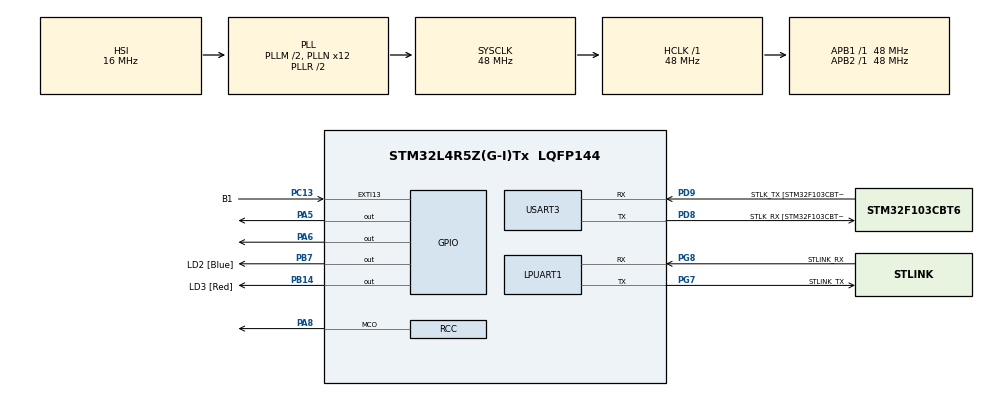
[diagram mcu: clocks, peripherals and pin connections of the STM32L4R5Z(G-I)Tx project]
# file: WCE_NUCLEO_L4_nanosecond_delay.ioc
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Mcu.Family=STM32L4
Mcu.Name=STM32L4R5Z(G-I)Tx
Mcu.Package=LQFP144
NVIC.PriorityGroup=NVIC_PRIORITYGROUP_4
PA13\ (JTMS/SWDIO).GPIO_Label=TMS
PA13\ (JTMS/SWDIO).Mode=Trace_Asynchronous_SW
PA13\ (JTMS/SWDIO).Signal=SYS_JTMS-SWDIO
PA14\ (JTCK/SWCLK).GPIO_Label=TCK
PA14\ (JTCK/SWCLK).Mode=Trace_Asynchronous_SW
PA14\ (JTCK/SWCLK).Signal=SYS_JTCK-SWCLK
PA5.GPIO_Speed=GPIO_SPEED_FREQ_VERY_HIGH
PA5.Signal=GPIO_Output
PA6.Signal=GPIO_Output
PA8.GPIO_Speed=GPIO_SPEED_FREQ_VERY_HIGH
PA8.Mode=Clock-out
PA8.Signal=RCC_MCO
PB14.GPIO_Label=LD3 [Red]
PB14.Signal=GPIO_Output
PB3\ (JTDO/TRACESWO).GPIO_Label=SWO
PB3\ (JTDO/TRACESWO).Mode=Trace_Asynchronous_SW
PB3\ (JTDO/TRACESWO).Signal=SYS_JTDO-SWO
PB7.GPIO_Label=LD2 [Blue]
PB7.Signal=GPIO_Output
PC13.GPIO_Label=B1
PC13.Signal=GPXTI13
PC14-OSC32_IN\ (PC14).Mode=LSE-External-Oscillator
PC14-OSC32_IN\ (PC14).Signal=RCC_OSC32_IN
PC15-OSC32_OUT\ (PC15).Mode=LSE-External-Oscillator
PC15-OSC32_OUT\ (PC15).Signal=RCC_OSC32_OUT
PD8.GPIO_Label=STLK_RX [STM32F103CBT6_PA3]
PD8.Mode=Asynchronous
PD8.Signal=USART3_TX
PD9.GPIO_Label=STLK_TX [STM32F103CBT6_PA2]
PD9.Mode=Asynchronous
PD9.Signal=USART3_RX
PG7.GPIO_Label=STLINK_TX
PG7.Mode=Asynchronous
PG7.Signal=LPUART1_TX
PG8.GPIO_Label=STLINK_RX
PG8.Mode=Asynchronous
PG8.Signal=LPUART1_RX
PH0-OSC_IN\ (PH0).Signal=RCC_OSC_IN
PH1-OSC_OUT\ (PH1).Signal=RCC_OSC_OUT
ProjectManager.HeapSize=0x200
ProjectManager.StackSize=0x400
ProjectManager.TargetToolchain=STM32CubeIDE
RCC.48MHZClocksFreq_Value=24000000
RCC.ADCFreq_Value=96000000
RCC.AHBFreq_Value=48000000
RCC.APB1Freq_Value=48000000
RCC.APB1TimFreq_Value=48000000
RCC.APB2Freq_Value=48000000
RCC.APB2TimFreq_Value=48000000
RCC.CK48CLockSelection=RCC_USBCLKSOURCE_HSI48
RCC.CortexFreq_Value=48000000
RCC.HCLKFreq_Value=48000000
RCC.HSE_VALUE=8000000
RCC.HSI48_VALUE=48000000
RCC.HSI_VALUE=16000000
RCC.MSI_VALUE=4000000
RCC.PLLM1=2
RCC.PLLMUL=RCC_PLL_MUL9
RCC.PLLN=12
RCC.PLLSAI1N=12
RCC.PLLSourceVirtual=RCC_PLLSOURCE_HSI
RCC.PRESCALERUSB=RCC_USBCLKSOURCE_PLL_DIV1_5
RCC.PWR_Regulator_Voltage_Scale=PWR_REGULATOR_VOLTAGE_SCALE1_BOOST
RCC.RCC_MCODiv=RCC_MCODIV_4
RCC.SYSCLKFreq_VALUE=48000000
RCC.SYSCLKSource=RCC_SYSCLKSOURCE_PLLCLK
RCC.SYSCLKSourceVirtual=RCC_SYSCLKSOURCE_PLLCLK
RCC.USBFreq_Value=48000000
RCC.VCOOutputFreq_Value=96000000
TIM2.Prescaler=12-1
USART3.VirtualMode-Asynchronous=VM_ASYNC
VP_TIM1_VS_ClockSourceINT.Mode=Internal
VP_TIM2_VS_ClockSourceINT.Mode=Internal
board=NUCLEO-L4R5ZI

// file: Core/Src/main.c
/* USER CODE BEGIN Header */
/**
  ******************************************************************************
  * @file           : main.c
  * @brief          : Main program body
  ******************************************************************************
  * @attention
  *
  * <h2><center>&copy; Copyright (c) 2021 STMicroelectronics.
  * All rights reserved.</center></h2>
  *
  * This software component is licensed by ST under BSD 3-Clause license,
  * the "License"; You may not use this file except in compliance with the
  * License. You may obtain a copy of the License at:
  *                        opensource.org/licenses/BSD-3-Clause
  *
  ******************************************************************************
  */
/* USER CODE END Header */
#include "main.h"

UART_HandleTypeDef hlpuart1;
UART_HandleTypeDef huart3;

TIM_HandleTypeDef htim1;
TIM_HandleTypeDef htim2;

void SystemClock_Config(void);
static void MX_GPIO_Init(void);
static void MX_LPUART1_UART_Init(void);
static void MX_USART3_UART_Init(void);
static void MX_TIM1_Init(void);
static void MX_TIM2_Init(void);
/* USER CODE BEGIN PFP */
static void stopwatch_reset(void);
static uint32_t stopwatch_getticks();
static void stopwatch_delay(uint32_t ticks);
void delay (uint16_t delay);
void delay_10_nsec (uint16_t t);

/* USER CODE END PFP */

int main(void)
{
  /* USER CODE BEGIN 1 */
	uint32_t m_nStart;               //DEBUG Stopwatch start cycle counter value
	uint32_t m_nStop;                //DEBUG Stopwatch stop cycle counter value

	#define DEMCR_TRCENA    0x01000000

	/* Core Debug registers */
	#define DEMCR           (*((volatile uint32_t *)0xE000EDFC))
	#define DWT_CTRL        (*(volatile uint32_t *)0xe0001000)
	#define CYCCNTENA       (1<<0)
	#define DWT_CYCCNT      ((volatile uint32_t *)0xE0001004)
	#define CPU_CYCLES      *DWT_CYCCNT
	#define CLK_SPEED       120000000 // EXAMPLE for CortexM4, EDIT as needed

	#define STOPWATCH_START { m_nStart = *((volatile unsigned int *)0xE0001004);}
	#define STOPWATCH_STOP  { m_nStop = *((volatile unsigned int *)0xE0001004);}

  /* USER CODE END 1 */

  /* MCU Configuration--------------------------------------------------------*/

  /* Reset of all peripherals, Initializes the Flash interface and the Systick. */
  HAL_Init();

  /* Configure the system clock */
  SystemClock_Config();

  /* Initialize all configured peripherals */
  MX_GPIO_Init();
  MX_LPUART1_UART_Init();
  MX_USART3_UART_Init();
  MX_TIM1_Init();
  MX_TIM2_Init();
  /* USER CODE BEGIN 2 */
  HAL_TIM_Base_Start(&htim1);
  int timeDiff = 0;
  int counter = 0;

  volatile uint32_t* ODR_B = (volatile uint32_t*) 0x48000014;
  //enables ART accelarator prefetch to flash
  *((volatile uint32_t*) 0x40022000) |= (0b111<<8);
  //  *ODR_B |= (1<<5);   // set pin high, this turns the LED "off"
//  *ODR_B &= ~(1<<5);  // set pin low, this turns the LED "on"
  /* USER CODE END 2 */

  /* Infinite loop */
  /* USER CODE BEGIN WHILE */
  while (1)
  {
	  __ASM volatile ("nop");
	  __ASM volatile ("nop");

	  /* [0] ---- 10010000 ---- */
	  GPIOA->BSRR =(1<<5);
	  __ASM volatile ("nop");
	  GPIOA->BSRR =(1<<21);
	  __ASM volatile ("nop");
	  GPIOA->BSRR =(1<<21);
	  __ASM volatile ("nop");
	  GPIOA->BSRR =(1<<5);
	  __ASM volatile ("nop");
	  GPIOA->BSRR =(1<<21);
	  __ASM volatile ("nop");
	  GPIOA->BSRR =(1<<21);
	  __ASM volatile ("nop");
	  GPIOA->BSRR =(1<<21);
	  __ASM volatile ("nop");
	  GPIOA->BSRR =(1<<21);
	  __ASM volatile ("nop");
	  /* [1] ---- 11000001 ---- */
	  GPIOA->BSRR =(1<<5);
	  __ASM volatile ("nop");
	  GPIOA->BSRR =(1<<5);
	  __ASM volatile ("nop");
	  GPIOA->BSRR =(1<<21);
	  __ASM volatile ("nop");
	  GPIOA->BSRR =(1<<21);
	  __ASM volatile ("nop");
	  GPIOA->BSRR =(1<<21);
	  __ASM volatile ("nop");
	  GPIOA->BSRR =(1<<21);
	  __ASM volatile ("nop");
	  GPIOA->BSRR =(1<<21);
	  __ASM volatile ("nop");
	  GPIOA->BSRR =(1<<5);
	  __ASM volatile ("nop");
	  /* [2] ---- 00101010 ---- */
	  GPIOA->BSRR =(1<<21);
	  __ASM volatile ("nop");
	  GPIOA->BSRR =(1<<21);
	  __ASM volatile ("nop");
	  GPIOA->BSRR =(1<<5);
	  __ASM volatile ("nop");
	  GPIOA->BSRR =(1<<21);
	  __ASM volatile ("nop");
	  GPIOA->BSRR =(1<<5);
	  __ASM volatile ("nop");
	  GPIOA->BSRR =(1<<21);
	  __ASM volatile ("nop");
	  GPIOA->BSRR =(1<<5);
	  __ASM volatile ("nop");
	  GPIOA->BSRR =(1<<21);
	  __ASM volatile ("nop");
	  /* [3] ---- 10010010 ---- */
	  GPIOA->BSRR =(1<<5);
	  __ASM volatile ("nop");
	  GPIOA->BSRR =(1<<21);
	  __ASM volatile ("nop");
	  GPIOA->BSRR =(1<<21);
	  __ASM volatile ("nop");
	  GPIOA->BSRR =(1<<5);
	  __ASM volatile ("nop");
	  GPIOA->BSRR =(1<<21);
	  __ASM volatile ("nop");
	  GPIOA->BSRR =(1<<21);
	  __ASM volatile ("nop");
	  GPIOA->BSRR =(1<<5);
	  __ASM volatile ("nop");
	  GPIOA->BSRR =(1<<21);
	  __ASM volatile ("nop");
	  /* [4] ---- 00000101 ---- */
	  GPIOA->BSRR =(1<<21);
	  __ASM volatile ("nop");
	  GPIOA->BSRR =(1<<21);
	  __ASM volatile ("nop");
	  GPIOA->BSRR =(1<<21);
	  __ASM volatile ("nop");
	  GPIOA->BSRR =(1<<21);
	  __ASM volatile ("nop");
	  GPIOA->BSRR =(1<<21);
	  __ASM volatile ("nop");
	  GPIOA->BSRR =(1<<5);
	  __ASM volatile ("nop");
	  GPIOA->BSRR =(1<<21);
	  __ASM volatile ("nop");
	  GPIOA->BSRR =(1<<5);
	  __ASM volatile ("nop");
	  /* [5] ---- 00101000 ---- */
	  GPIOA->BSRR =(1<<21);
	  __ASM volatile ("nop");
	  GPIOA->BSRR =(1<<21);
	  __ASM volatile ("nop");
	  GPIOA->BSRR =(1<<5);
	  __ASM volatile ("nop");
	  GPIOA->BSRR =(1<<21);
	  __ASM volatile ("nop");
	  GPIOA->BSRR =(1<<5);
	  __ASM volatile ("nop");
	  GPIOA->BSRR =(1<<21);
	  __ASM volatile ("nop");
	  GPIOA->BSRR =(1<<21);
	  __ASM volatile ("nop");
	  GPIOA->BSRR =(1<<21);

	  __ASM volatile ("nop");
	  GPIOA->BSRR =(1<<5);

/* ---- 90.5 us delay ---- */
	while(counter <= 344) // T = 179*2 for cyclic check
	{
		__ASM volatile ("nop");
		counter++;
	}
	counter = 0;

    /* USER CODE END WHILE */

  }
}

void SystemClock_Config(void)
{
  RCC_OscInitTypeDef RCC_OscInitStruct = {0};
  RCC_ClkInitTypeDef RCC_ClkInitStruct = {0};
  RCC_PeriphCLKInitTypeDef PeriphClkInit = {0};

  /** Configure the main internal regulator output voltage
  */
  if (HAL_PWREx_ControlVoltageScaling(PWR_REGULATOR_VOLTAGE_SCALE1_BOOST) != HAL_OK)
  {
    Error_Handler();
  }
  /** Initializes the RCC Oscillators according to the specified parameters
  * in the RCC_OscInitTypeDef structure.
  */
  RCC_OscInitStruct.OscillatorType = RCC_OSCILLATORTYPE_HSI;
  RCC_OscInitStruct.HSIState = RCC_HSI_ON;
  RCC_OscInitStruct.HSICalibrationValue = RCC_HSICALIBRATION_DEFAULT;
  RCC_OscInitStruct.PLL.PLLState = RCC_PLL_ON;
  RCC_OscInitStruct.PLL.PLLSource = RCC_PLLSOURCE_HSI;
  RCC_OscInitStruct.PLL.PLLM = 2;
  RCC_OscInitStruct.PLL.PLLN = 12;
  RCC_OscInitStruct.PLL.PLLP = RCC_PLLP_DIV2;
  RCC_OscInitStruct.PLL.PLLQ = RCC_PLLQ_DIV2;
  RCC_OscInitStruct.PLL.PLLR = RCC_PLLR_DIV2;
  if (HAL_RCC_OscConfig(&RCC_OscInitStruct) != HAL_OK)
  {
    Error_Handler();
  }
  /** Initializes the CPU, AHB and APB buses clocks
  */
  RCC_ClkInitStruct.ClockType = RCC_CLOCKTYPE_HCLK|RCC_CLOCKTYPE_SYSCLK
                              |RCC_CLOCKTYPE_PCLK1|RCC_CLOCKTYPE_PCLK2;
  RCC_ClkInitStruct.SYSCLKSource = RCC_SYSCLKSOURCE_PLLCLK;
  RCC_ClkInitStruct.AHBCLKDivider = RCC_SYSCLK_DIV1;
  RCC_ClkInitStruct.APB1CLKDivider = RCC_HCLK_DIV1;
  RCC_ClkInitStruct.APB2CLKDivider = RCC_HCLK_DIV1;

  if (HAL_RCC_ClockConfig(&RCC_ClkInitStruct, FLASH_LATENCY_2) != HAL_OK)
  {
    Error_Handler();
  }
  PeriphClkInit.PeriphClockSelection = RCC_PERIPHCLK_USART3|RCC_PERIPHCLK_LPUART1;
  PeriphClkInit.Usart3ClockSelection = RCC_USART3CLKSOURCE_PCLK1;
  PeriphClkInit.Lpuart1ClockSelection = RCC_LPUART1CLKSOURCE_PCLK1;
  if (HAL_RCCEx_PeriphCLKConfig(&PeriphClkInit) != HAL_OK)
  {
    Error_Handler();
  }
  HAL_RCC_MCOConfig(RCC_MCO1, RCC_MCO1SOURCE_SYSCLK, RCC_MCODIV_4);
}

static void MX_LPUART1_UART_Init(void)
{

  hlpuart1.Instance = LPUART1;
  hlpuart1.Init.BaudRate = 209700;
  hlpuart1.Init.WordLength = UART_WORDLENGTH_7B;
  hlpuart1.Init.StopBits = UART_STOPBITS_1;
  hlpuart1.Init.Parity = UART_PARITY_NONE;
  hlpuart1.Init.Mode = UART_MODE_TX_RX;
  hlpuart1.Init.HwFlowCtl = UART_HWCONTROL_NONE;
  hlpuart1.Init.OneBitSampling = UART_ONE_BIT_SAMPLE_DISABLE;
  hlpuart1.Init.ClockPrescaler = UART_PRESCALER_DIV1;
  hlpuart1.AdvancedInit.AdvFeatureInit = UART_ADVFEATURE_NO_INIT;
  hlpuart1.FifoMode = UART_FIFOMODE_DISABLE;
  if (HAL_UART_Init(&hlpuart1) != HAL_OK)
  {
    Error_Handler();
  }
  if (HAL_UARTEx_SetTxFifoThreshold(&hlpuart1, UART_TXFIFO_THRESHOLD_1_8) != HAL_OK)
  {
    Error_Handler();
  }
  if (HAL_UARTEx_SetRxFifoThreshold(&hlpuart1, UART_RXFIFO_THRESHOLD_1_8) != HAL_OK)
  {
    Error_Handler();
  }
  if (HAL_UARTEx_DisableFifoMode(&hlpuart1) != HAL_OK)
  {
    Error_Handler();
  }

}

static void MX_USART3_UART_Init(void)
{

  huart3.Instance = USART3;
  huart3.Init.BaudRate = 115200;
  huart3.Init.WordLength = UART_WORDLENGTH_8B;
  huart3.Init.StopBits = UART_STOPBITS_1;
  huart3.Init.Parity = UART_PARITY_NONE;
  huart3.Init.Mode = UART_MODE_TX_RX;
  huart3.Init.HwFlowCtl = UART_HWCONTROL_NONE;
  huart3.Init.OverSampling = UART_OVERSAMPLING_16;
  huart3.Init.OneBitSampling = UART_ONE_BIT_SAMPLE_DISABLE;
  huart3.Init.ClockPrescaler = UART_PRESCALER_DIV1;
  huart3.AdvancedInit.AdvFeatureInit = UART_ADVFEATURE_NO_INIT;
  if (HAL_UART_Init(&huart3) != HAL_OK)
  {
    Error_Handler();
  }
  if (HAL_UARTEx_SetTxFifoThreshold(&huart3, UART_TXFIFO_THRESHOLD_1_8) != HAL_OK)
  {
    Error_Handler();
  }
  if (HAL_UARTEx_SetRxFifoThreshold(&huart3, UART_RXFIFO_THRESHOLD_1_8) != HAL_OK)
  {
    Error_Handler();
  }
  if (HAL_UARTEx_DisableFifoMode(&huart3) != HAL_OK)
  {
    Error_Handler();
  }

}

static void MX_TIM1_Init(void)
{

  TIM_ClockConfigTypeDef sClockSourceConfig = {0};
  TIM_MasterConfigTypeDef sMasterConfig = {0};

  htim1.Instance = TIM1;
  htim1.Init.Prescaler = 0;
  htim1.Init.CounterMode = TIM_COUNTERMODE_UP;
  htim1.Init.Period = 65535;
  htim1.Init.ClockDivision = TIM_CLOCKDIVISION_DIV1;
  htim1.Init.RepetitionCounter = 0;
  htim1.Init.AutoReloadPreload = TIM_AUTORELOAD_PRELOAD_DISABLE;
  if (HAL_TIM_Base_Init(&htim1) != HAL_OK)
  {
    Error_Handler();
  }
  sClockSourceConfig.ClockSource = TIM_CLOCKSOURCE_INTERNAL;
  if (HAL_TIM_ConfigClockSource(&htim1, &sClockSourceConfig) != HAL_OK)
  {
    Error_Handler();
  }
  sMasterConfig.MasterOutputTrigger = TIM_TRGO_RESET;
  sMasterConfig.MasterOutputTrigger2 = TIM_TRGO2_RESET;
  sMasterConfig.MasterSlaveMode = TIM_MASTERSLAVEMODE_DISABLE;
  if (HAL_TIMEx_MasterConfigSynchronization(&htim1, &sMasterConfig) != HAL_OK)
  {
    Error_Handler();
  }

}

static void MX_TIM2_Init(void)
{

  TIM_ClockConfigTypeDef sClockSourceConfig = {0};
  TIM_MasterConfigTypeDef sMasterConfig = {0};

  htim2.Instance = TIM2;
  htim2.Init.Prescaler = 12-1;
  htim2.Init.CounterMode = TIM_COUNTERMODE_UP;
  htim2.Init.Period = 4294967295;
  htim2.Init.ClockDivision = TIM_CLOCKDIVISION_DIV1;
  htim2.Init.AutoReloadPreload = TIM_AUTORELOAD_PRELOAD_DISABLE;
  if (HAL_TIM_Base_Init(&htim2) != HAL_OK)
  {
    Error_Handler();
  }
  sClockSourceConfig.ClockSource = TIM_CLOCKSOURCE_INTERNAL;
  if (HAL_TIM_ConfigClockSource(&htim2, &sClockSourceConfig) != HAL_OK)
  {
    Error_Handler();
  }
  sMasterConfig.MasterOutputTrigger = TIM_TRGO_RESET;
  sMasterConfig.MasterSlaveMode = TIM_MASTERSLAVEMODE_DISABLE;
  if (HAL_TIMEx_MasterConfigSynchronization(&htim2, &sMasterConfig) != HAL_OK)
  {
    Error_Handler();
  }

}

static void MX_GPIO_Init(void)
{
  GPIO_InitTypeDef GPIO_InitStruct = {0};

  /* GPIO Ports Clock Enable */
  __HAL_RCC_GPIOC_CLK_ENABLE();
  __HAL_RCC_GPIOH_CLK_ENABLE();
  __HAL_RCC_GPIOA_CLK_ENABLE();
  __HAL_RCC_GPIOB_CLK_ENABLE();
  __HAL_RCC_GPIOD_CLK_ENABLE();
  __HAL_RCC_GPIOG_CLK_ENABLE();
  HAL_PWREx_EnableVddIO2();

  /*Configure GPIO pin Output Level */
  HAL_GPIO_WritePin(GPIOA, GPIO_PIN_5|GPIO_PIN_6, GPIO_PIN_RESET);

  /*Configure GPIO pin Output Level */
  HAL_GPIO_WritePin(GPIOB, LD3_Pin|LD2_Pin, GPIO_PIN_RESET);

  /*Configure GPIO pin : B1_Pin */
  GPIO_InitStruct.Pin = B1_Pin;
  GPIO_InitStruct.Mode = GPIO_MODE_IT_RISING;
  GPIO_InitStruct.Pull = GPIO_NOPULL;
  HAL_GPIO_Init(B1_GPIO_Port, &GPIO_InitStruct);

  /*Configure GPIO pin : PA5 */
  GPIO_InitStruct.Pin = GPIO_PIN_5;
  GPIO_InitStruct.Mode = GPIO_MODE_OUTPUT_PP;
  GPIO_InitStruct.Pull = GPIO_NOPULL;
  GPIO_InitStruct.Speed = GPIO_SPEED_FREQ_VERY_HIGH;
  HAL_GPIO_Init(GPIOA, &GPIO_InitStruct);

  /*Configure GPIO pin : PA6 */
  GPIO_InitStruct.Pin = GPIO_PIN_6;
  GPIO_InitStruct.Mode = GPIO_MODE_OUTPUT_PP;
  GPIO_InitStruct.Pull = GPIO_NOPULL;
  GPIO_InitStruct.Speed = GPIO_SPEED_FREQ_LOW;
  HAL_GPIO_Init(GPIOA, &GPIO_InitStruct);

  /*Configure GPIO pins : LD3_Pin LD2_Pin */
  GPIO_InitStruct.Pin = LD3_Pin|LD2_Pin;
  GPIO_InitStruct.Mode = GPIO_MODE_OUTPUT_PP;
  GPIO_InitStruct.Pull = GPIO_NOPULL;
  GPIO_InitStruct.Speed = GPIO_SPEED_FREQ_LOW;
  HAL_GPIO_Init(GPIOB, &GPIO_InitStruct);

  /*Configure GPIO pin : PA8 */
  GPIO_InitStruct.Pin = GPIO_PIN_8;
  GPIO_InitStruct.Mode = GPIO_MODE_AF_PP;
  GPIO_InitStruct.Pull = GPIO_NOPULL;
  GPIO_InitStruct.Speed = GPIO_SPEED_FREQ_VERY_HIGH;
  GPIO_InitStruct.Alternate = GPIO_AF0_MCO;
  HAL_GPIO_Init(GPIOA, &GPIO_InitStruct);

}

/* USER CODE BEGIN 4 */

void delay_10_nsec (uint16_t t)
{
	__HAL_TIM_SET_COUNTER(&htim1,0);  // set the counter value a 0
	while (__HAL_TIM_GET_COUNTER(&htim1) < t);  // wait for the counter to reach the us input in the parameter
}

static void stopwatch_reset(void)
{
    /* Enable DWT */
    DEMCR |= DEMCR_TRCENA;
    *DWT_CYCCNT = 0;
    /* Enable CPU cycle counter */
    DWT_CTRL |= CYCCNTENA;
}

static uint32_t stopwatch_getticks()
{
    return CPU_CYCLES;
}

static void stopwatch_delay(uint32_t ticks)
{
    uint32_t end_ticks = ticks + stopwatch_getticks();
    while(1)
    {
            if (stopwatch_getticks() >= end_ticks)
                    break;
    }
}

void delay (uint16_t delay)
{
	__HAL_TIM_SET_COUNTER (&htim2, 0);
	while (__HAL_TIM_GET_COUNTER(&htim2) < delay);
}

/* USER CODE END 4 */

void Error_Handler(void)
{
  __disable_irq();
  while (1)
  {
  }
}

/************************ (C) COPYRIGHT STMicroelectronics *****END OF FILE****/
